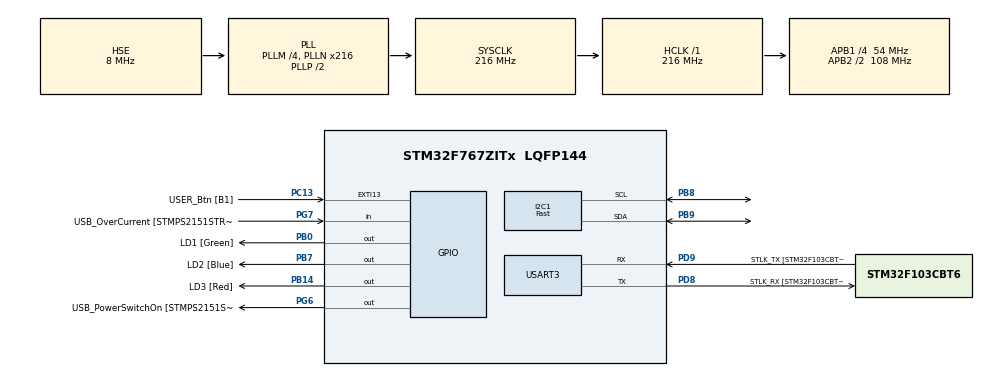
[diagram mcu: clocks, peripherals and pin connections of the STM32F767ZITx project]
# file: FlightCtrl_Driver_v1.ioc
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Dma.I2C1_RX.0.Direction=DMA_PERIPH_TO_MEMORY
Dma.I2C1_RX.0.FIFOMode=DMA_FIFOMODE_DISABLE
Dma.I2C1_RX.0.Instance=DMA1_Stream0
Dma.I2C1_RX.0.MemDataAlignment=DMA_MDATAALIGN_BYTE
Dma.I2C1_RX.0.MemInc=DMA_MINC_ENABLE
Dma.I2C1_RX.0.Mode=DMA_NORMAL
Dma.I2C1_RX.0.PeriphDataAlignment=DMA_PDATAALIGN_BYTE
Dma.I2C1_RX.0.PeriphInc=DMA_PINC_DISABLE
Dma.I2C1_RX.0.Priority=DMA_PRIORITY_VERY_HIGH
Dma.I2C1_TX.1.Direction=DMA_MEMORY_TO_PERIPH
Dma.I2C1_TX.1.FIFOMode=DMA_FIFOMODE_DISABLE
Dma.I2C1_TX.1.Instance=DMA1_Stream6
Dma.I2C1_TX.1.MemDataAlignment=DMA_MDATAALIGN_BYTE
Dma.I2C1_TX.1.MemInc=DMA_MINC_ENABLE
Dma.I2C1_TX.1.Mode=DMA_NORMAL
Dma.I2C1_TX.1.PeriphDataAlignment=DMA_PDATAALIGN_BYTE
Dma.I2C1_TX.1.PeriphInc=DMA_PINC_DISABLE
Dma.I2C1_TX.1.Priority=DMA_PRIORITY_HIGH
Dma.Request0=I2C1_RX
Dma.Request1=I2C1_TX
I2C1.I2C_Speed_Mode=I2C_Fast
I2C1.Timing=0x6000030D
Mcu.Family=STM32F7
Mcu.Name=STM32F767ZITx
Mcu.Package=LQFP144
NVIC.DMA1_Stream0_IRQn=true\:0\:0\:false\:false\:true\:false\:true\:true
NVIC.DMA1_Stream6_IRQn=true\:0\:0\:false\:false\:true\:false\:true\:true
NVIC.I2C1_ER_IRQn=true\:0\:0\:false\:false\:true\:true\:true\:true
NVIC.I2C1_EV_IRQn=true\:0\:0\:false\:false\:true\:true\:true\:true
NVIC.PriorityGroup=NVIC_PRIORITYGROUP_4
PA1.GPIO_Label=RMII_REF_CLK [LAN8742A-CZ-TR_REFCLK0]
PA1.Signal=ETH_REF_CLK
PA10.GPIO_Label=USB_ID
PA10.Signal=USB_OTG_FS_ID
PA11.GPIO_Label=USB_DM
PA11.Signal=USB_OTG_FS_DM
PA12.GPIO_Label=USB_DP
PA12.Signal=USB_OTG_FS_DP
PA13.GPIO_Label=TMS
PA13.Signal=SYS_JTMS-SWDIO
PA14.GPIO_Label=TCK
PA14.Signal=SYS_JTCK-SWCLK
PA2.GPIO_Label=RMII_MDIO [LAN8742A-CZ-TR_MDIO]
PA2.Signal=ETH_MDIO
PA7.GPIO_Label=RMII_CRS_DV [LAN8742A-CZ-TR_CRS_DV]
PA7.Signal=ETH_CRS_DV
PA8.GPIO_Label=USB_SOF [TP1]
PA8.Signal=USB_OTG_FS_SOF
PA9.GPIO_Label=USB_VBUS
PA9.Signal=USB_OTG_FS_VBUS
PB0.GPIO_Label=LD1 [Green]
PB0.Signal=GPIO_Output
PB13.GPIO_Label=RMII_TXD1 [LAN8742A-CZ-TR_TXD1]
PB13.Signal=ETH_TXD1
PB14.GPIO_Label=LD3 [Red]
PB14.Signal=GPIO_Output
PB3.GPIO_Label=SW0
PB3.Signal=SYS_JTDO-SWO
PB7.GPIO_Label=LD2 [Blue]
PB7.Signal=GPIO_Output
PB8.Mode=I2C
PB8.Signal=I2C1_SCL
PB9.Mode=I2C
PB9.Signal=I2C1_SDA
PC1.GPIO_Label=RMII_MDC [LAN8742A-CZ-TR_MDC]
PC1.Signal=ETH_MDC
PC13.GPIO_Label=USER_Btn [B1]
PC13.Signal=GPXTI13
PC14/OSC32_IN.Signal=RCC_OSC32_IN
PC15/OSC32_OUT.Signal=RCC_OSC32_OUT
PC4.GPIO_Label=RMII_RXD0 [LAN8742A-CZ-TR_RXD0]
PC4.Signal=ETH_RXD0
PC5.GPIO_Label=RMII_RXD1 [LAN8742A-CZ-TR_RXD1]
PC5.Signal=ETH_RXD1
PD8.GPIO_Label=STLK_RX [STM32F103CBT6_PA3]
PD8.Mode=Asynchronous
PD8.Signal=USART3_TX
PD9.GPIO_Label=STLK_TX [STM32F103CBT6_PA2]
PD9.Mode=Asynchronous
PD9.Signal=USART3_RX
PG11.GPIO_Label=RMII_TX_EN [LAN8742A-CZ-TR_TXEN]
PG11.Signal=ETH_TX_EN
PG13.GPIO_Label=RMII_TXD0 [LAN8742A-CZ-TR_TXD0]
PG13.Signal=ETH_TXD0
PG6.GPIO_Label=USB_PowerSwitchOn [STMPS2151STR_EN]
PG6.Signal=GPIO_Output
PG7.GPIO_Label=USB_OverCurrent [STMPS2151STR_FAULT]
PG7.Signal=GPIO_Input
PH0/OSC_IN.GPIO_Label=MCO [STM32F103CBT6_PA8]
PH0/OSC_IN.Mode=HSE-External-Clock-Source
PH0/OSC_IN.Signal=RCC_OSC_IN
PH1/OSC_OUT.Mode=HSE-External-Clock-Source
PH1/OSC_OUT.Signal=RCC_OSC_OUT
ProjectManager.HeapSize=0x200
ProjectManager.StackSize=0x400
ProjectManager.TargetToolchain=STM32CubeIDE
RCC.48MHZClocksFreq_Value=24000000
RCC.AHBFreq_Value=216000000
RCC.APB1CLKDivider=RCC_HCLK_DIV4
RCC.APB1Freq_Value=54000000
RCC.APB1TimFreq_Value=108000000
RCC.APB2CLKDivider=RCC_HCLK_DIV2
RCC.APB2Freq_Value=108000000
RCC.APB2TimFreq_Value=216000000
RCC.CortexFreq_Value=216000000
RCC.HCLKFreq_Value=216000000
RCC.HSE_VALUE=8000000
RCC.HSI_VALUE=16000000
RCC.LSE_VALUE=32768
RCC.PLLM=4
RCC.PLLMUL=RCC_PLL_MUL9
RCC.PLLN=216
RCC.PLLSourceVirtual=RCC_PLLSOURCE_HSE
RCC.PRESCALERUSB=RCC_USBCLKSOURCE_PLL_DIV1_5
RCC.SYSCLKFreq_VALUE=216000000
RCC.SYSCLKSource=RCC_SYSCLKSOURCE_PLLCLK
RCC.SYSCLKSourceVirtual=RCC_SYSCLKSOURCE_PLLCLK
RCC.USBFreq_Value=216000000
RCC.VCOOutputFreq_Value=432000000
USART3.VirtualMode-Asynchronous=VM_ASYNC
board=NUCLEO-F767ZI

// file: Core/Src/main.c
/* USER CODE BEGIN Header */
/**
  ******************************************************************************
  * @file           : main.c
  * @brief          : Main program body
  ******************************************************************************
  * @attention
  *
  * Copyright (c) 2026 STMicroelectronics.
  * All rights reserved.
  *
  * This software is licensed under terms that can be found in the LICENSE file
  * in the root directory of this software component.
  * If no LICENSE file comes with this software, it is provided AS-IS.
  *
  ******************************************************************************
  */
/* USER CODE END Header */
#include "main.h"

/* USER CODE BEGIN Includes */
#include "lsm6dso.h"
#include "lis3mdl.h"
#include "ahrs.h"
#include <stdio.h>
/* USER CODE END Includes */

I2C_HandleTypeDef hi2c1;
DMA_HandleTypeDef hdma_i2c1_rx;
DMA_HandleTypeDef hdma_i2c1_tx;

UART_HandleTypeDef huart3;

/* USER CODE BEGIN PV */
LSM6DSO_t imu_sensor;
LIS3MDL_t mag_sensor;
AHRS_t ahrs_sys;
/* USER CODE END PV */

void SystemClock_Config(void);
static void MX_GPIO_Init(void);
static void MX_DMA_Init(void);
static void MX_I2C1_Init(void);
static void MX_USART3_UART_Init(void);

/* USER CODE BEGIN 0 */
extern UART_HandleTypeDef huart3;

int _write(int file, char *ptr, int len) {
	HAL_UART_Transmit(&huart3, (uint8_t*)ptr, len, 1000);
	return len;
}
/* USER CODE END 0 */

int main(void)
{

  /* MCU Configuration--------------------------------------------------------*/

  /* Reset of all peripherals, Initializes the Flash interface and the Systick. */
  HAL_Init();

  /* Configure the system clock */
  SystemClock_Config();

  /* Initialize all configured peripherals */
  MX_GPIO_Init();
  MX_DMA_Init();
  MX_I2C1_Init();
  MX_USART3_UART_Init();
  /* USER CODE BEGIN 2 */
  printf("System Start!\r\n");

  // IMU (LSM6DSO)
  if (LSM6DSO_Init(&imu_sensor, &hi2c1) == 0) {
	  printf("LSM6DSO Init OK!\r\n");
  } else {
	  printf("LSM6DSO FAILED!\r\n");
  }

  // COMPAS (LIS3MDL)
  if (LIS3MDL_Init(&mag_sensor, &hi2c1) == 0) {
	  printf("MAG Init OK!\r\n");
  } else {
	  printf("MAG FAILED!\r\n");
  }

  AHRS_Init(&ahrs_sys, 0.96f, 0.1f);

  /* USER CODE END 2 */

  /* Infinite loop */
  while (1)
  {

    /* USER CODE BEGIN 3 */
/*
	  /* 1. Acquire Data */
	  LSM6DSO_Request_DMA(&imu_sensor);
	  HAL_Delay(1);
	  LIS3MDL_Request_DMA(&mag_sensor);

	  /* 2. Process Data (Sensor Fusion) */
	  AHRS_Update(&ahrs_sys,
			  	  imu_sensor.accel_g[0], imu_sensor.accel_g[1], imu_sensor.accel_g[2],
			  	  imu_sensor.gyro_dps[0], imu_sensor.gyro_dps[1], imu_sensor.gyro_dps[2],
				  mag_sensor.mag_gauss[0], mag_sensor.mag_gauss[1], mag_sensor.mag_gauss[2]);

	  /* 3. Output */
	  printf("P: %6.2f | R: %6.2f | Y: %6.2f\r\n",
			  ahrs_sys.pitch, ahrs_sys.roll, ahrs_sys.yaw);

	  HAL_GPIO_TogglePin(GPIOB, GPIO_PIN_0);
	  HAL_Delay(100);

  }
  /* USER CODE END 3 */
}

void SystemClock_Config(void)
{
  RCC_OscInitTypeDef RCC_OscInitStruct = {0};
  RCC_ClkInitTypeDef RCC_ClkInitStruct = {0};

  /** Configure the main internal regulator output voltage
  */
  __HAL_RCC_PWR_CLK_ENABLE();
  __HAL_PWR_VOLTAGESCALING_CONFIG(PWR_REGULATOR_VOLTAGE_SCALE1);

  /** Initializes the RCC Oscillators according to the specified parameters
  * in the RCC_OscInitTypeDef structure.
  */
  RCC_OscInitStruct.OscillatorType = RCC_OSCILLATORTYPE_HSE;
  RCC_OscInitStruct.HSEState = RCC_HSE_BYPASS;
  RCC_OscInitStruct.PLL.PLLState = RCC_PLL_ON;
  RCC_OscInitStruct.PLL.PLLSource = RCC_PLLSOURCE_HSE;
  RCC_OscInitStruct.PLL.PLLM = 4;
  RCC_OscInitStruct.PLL.PLLN = 216;
  RCC_OscInitStruct.PLL.PLLP = RCC_PLLP_DIV2;
  RCC_OscInitStruct.PLL.PLLQ = 2;
  RCC_OscInitStruct.PLL.PLLR = 2;
  if (HAL_RCC_OscConfig(&RCC_OscInitStruct) != HAL_OK)
  {
    Error_Handler();
  }

  /** Activate the Over-Drive mode
  */
  if (HAL_PWREx_EnableOverDrive() != HAL_OK)
  {
    Error_Handler();
  }

  /** Initializes the CPU, AHB and APB buses clocks
  */
  RCC_ClkInitStruct.ClockType = RCC_CLOCKTYPE_HCLK|RCC_CLOCKTYPE_SYSCLK
                              |RCC_CLOCKTYPE_PCLK1|RCC_CLOCKTYPE_PCLK2;
  RCC_ClkInitStruct.SYSCLKSource = RCC_SYSCLKSOURCE_PLLCLK;
  RCC_ClkInitStruct.AHBCLKDivider = RCC_SYSCLK_DIV1;
  RCC_ClkInitStruct.APB1CLKDivider = RCC_HCLK_DIV4;
  RCC_ClkInitStruct.APB2CLKDivider = RCC_HCLK_DIV2;

  if (HAL_RCC_ClockConfig(&RCC_ClkInitStruct, FLASH_LATENCY_7) != HAL_OK)
  {
    Error_Handler();
  }
}

static void MX_I2C1_Init(void)
{

  hi2c1.Instance = I2C1;
  hi2c1.Init.Timing = 0x6000030D;
  hi2c1.Init.OwnAddress1 = 0;
  hi2c1.Init.AddressingMode = I2C_ADDRESSINGMODE_7BIT;
  hi2c1.Init.DualAddressMode = I2C_DUALADDRESS_DISABLE;
  hi2c1.Init.OwnAddress2 = 0;
  hi2c1.Init.OwnAddress2Masks = I2C_OA2_NOMASK;
  hi2c1.Init.GeneralCallMode = I2C_GENERALCALL_DISABLE;
  hi2c1.Init.NoStretchMode = I2C_NOSTRETCH_DISABLE;
  if (HAL_I2C_Init(&hi2c1) != HAL_OK)
  {
    Error_Handler();
  }

  /** Configure Analogue filter
  */
  if (HAL_I2CEx_ConfigAnalogFilter(&hi2c1, I2C_ANALOGFILTER_ENABLE) != HAL_OK)
  {
    Error_Handler();
  }

  /** Configure Digital filter
  */
  if (HAL_I2CEx_ConfigDigitalFilter(&hi2c1, 0) != HAL_OK)
  {
    Error_Handler();
  }

}

static void MX_USART3_UART_Init(void)
{

  huart3.Instance = USART3;
  huart3.Init.BaudRate = 115200;
  huart3.Init.WordLength = UART_WORDLENGTH_8B;
  huart3.Init.StopBits = UART_STOPBITS_1;
  huart3.Init.Parity = UART_PARITY_NONE;
  huart3.Init.Mode = UART_MODE_TX_RX;
  huart3.Init.HwFlowCtl = UART_HWCONTROL_NONE;
  huart3.Init.OverSampling = UART_OVERSAMPLING_16;
  huart3.Init.OneBitSampling = UART_ONE_BIT_SAMPLE_DISABLE;
  huart3.AdvancedInit.AdvFeatureInit = UART_ADVFEATURE_NO_INIT;
  if (HAL_UART_Init(&huart3) != HAL_OK)
  {
    Error_Handler();
  }

}

static void MX_DMA_Init(void)
{

  /* DMA controller clock enable */
  __HAL_RCC_DMA1_CLK_ENABLE();

  /* DMA interrupt init */
  /* DMA1_Stream0_IRQn interrupt configuration */
  HAL_NVIC_SetPriority(DMA1_Stream0_IRQn, 0, 0);
  HAL_NVIC_EnableIRQ(DMA1_Stream0_IRQn);
  /* DMA1_Stream6_IRQn interrupt configuration */
  HAL_NVIC_SetPriority(DMA1_Stream6_IRQn, 0, 0);
  HAL_NVIC_EnableIRQ(DMA1_Stream6_IRQn);

}

static void MX_GPIO_Init(void)
{
  GPIO_InitTypeDef GPIO_InitStruct = {0};

  /* GPIO Ports Clock Enable */
  __HAL_RCC_GPIOC_CLK_ENABLE();
  __HAL_RCC_GPIOH_CLK_ENABLE();
  __HAL_RCC_GPIOA_CLK_ENABLE();
  __HAL_RCC_GPIOB_CLK_ENABLE();
  __HAL_RCC_GPIOD_CLK_ENABLE();
  __HAL_RCC_GPIOG_CLK_ENABLE();

  /*Configure GPIO pin Output Level */
  HAL_GPIO_WritePin(GPIOB, LD1_Pin|LD3_Pin|LD2_Pin, GPIO_PIN_RESET);

  /*Configure GPIO pin Output Level */
  HAL_GPIO_WritePin(USB_PowerSwitchOn_GPIO_Port, USB_PowerSwitchOn_Pin, GPIO_PIN_RESET);

  /*Configure GPIO pin : USER_Btn_Pin */
  GPIO_InitStruct.Pin = USER_Btn_Pin;
  GPIO_InitStruct.Mode = GPIO_MODE_IT_RISING;
  GPIO_InitStruct.Pull = GPIO_NOPULL;
  HAL_GPIO_Init(USER_Btn_GPIO_Port, &GPIO_InitStruct);

  /*Configure GPIO pins : RMII_MDC_Pin RMII_RXD0_Pin RMII_RXD1_Pin */
  GPIO_InitStruct.Pin = RMII_MDC_Pin|RMII_RXD0_Pin|RMII_RXD1_Pin;
  GPIO_InitStruct.Mode = GPIO_MODE_AF_PP;
  GPIO_InitStruct.Pull = GPIO_NOPULL;
  GPIO_InitStruct.Speed = GPIO_SPEED_FREQ_VERY_HIGH;
  GPIO_InitStruct.Alternate = GPIO_AF11_ETH;
  HAL_GPIO_Init(GPIOC, &GPIO_InitStruct);

  /*Configure GPIO pins : RMII_REF_CLK_Pin RMII_MDIO_Pin RMII_CRS_DV_Pin */
  GPIO_InitStruct.Pin = RMII_REF_CLK_Pin|RMII_MDIO_Pin|RMII_CRS_DV_Pin;
  GPIO_InitStruct.Mode = GPIO_MODE_AF_PP;
  GPIO_InitStruct.Pull = GPIO_NOPULL;
  GPIO_InitStruct.Speed = GPIO_SPEED_FREQ_VERY_HIGH;
  GPIO_InitStruct.Alternate = GPIO_AF11_ETH;
  HAL_GPIO_Init(GPIOA, &GPIO_InitStruct);

  /*Configure GPIO pins : LD1_Pin LD3_Pin LD2_Pin */
  GPIO_InitStruct.Pin = LD1_Pin|LD3_Pin|LD2_Pin;
  GPIO_InitStruct.Mode = GPIO_MODE_OUTPUT_PP;
  GPIO_InitStruct.Pull = GPIO_NOPULL;
  GPIO_InitStruct.Speed = GPIO_SPEED_FREQ_LOW;
  HAL_GPIO_Init(GPIOB, &GPIO_InitStruct);

  /*Configure GPIO pin : RMII_TXD1_Pin */
  GPIO_InitStruct.Pin = RMII_TXD1_Pin;
  GPIO_InitStruct.Mode = GPIO_MODE_AF_PP;
  GPIO_InitStruct.Pull = GPIO_NOPULL;
  GPIO_InitStruct.Speed = GPIO_SPEED_FREQ_VERY_HIGH;
  GPIO_InitStruct.Alternate = GPIO_AF11_ETH;
  HAL_GPIO_Init(RMII_TXD1_GPIO_Port, &GPIO_InitStruct);

  /*Configure GPIO pin : USB_PowerSwitchOn_Pin */
  GPIO_InitStruct.Pin = USB_PowerSwitchOn_Pin;
  GPIO_InitStruct.Mode = GPIO_MODE_OUTPUT_PP;
  GPIO_InitStruct.Pull = GPIO_NOPULL;
  GPIO_InitStruct.Speed = GPIO_SPEED_FREQ_LOW;
  HAL_GPIO_Init(USB_PowerSwitchOn_GPIO_Port, &GPIO_InitStruct);

  /*Configure GPIO pin : USB_OverCurrent_Pin */
  GPIO_InitStruct.Pin = USB_OverCurrent_Pin;
  GPIO_InitStruct.Mode = GPIO_MODE_INPUT;
  GPIO_InitStruct.Pull = GPIO_NOPULL;
  HAL_GPIO_Init(USB_OverCurrent_GPIO_Port, &GPIO_InitStruct);

  /*Configure GPIO pins : USB_SOF_Pin USB_ID_Pin USB_DM_Pin USB_DP_Pin */
  GPIO_InitStruct.Pin = USB_SOF_Pin|USB_ID_Pin|USB_DM_Pin|USB_DP_Pin;
  GPIO_InitStruct.Mode = GPIO_MODE_AF_PP;
  GPIO_InitStruct.Pull = GPIO_NOPULL;
  GPIO_InitStruct.Speed = GPIO_SPEED_FREQ_VERY_HIGH;
  GPIO_InitStruct.Alternate = GPIO_AF10_OTG_FS;
  HAL_GPIO_Init(GPIOA, &GPIO_InitStruct);

  /*Configure GPIO pin : USB_VBUS_Pin */
  GPIO_InitStruct.Pin = USB_VBUS_Pin;
  GPIO_InitStruct.Mode = GPIO_MODE_INPUT;
  GPIO_InitStruct.Pull = GPIO_NOPULL;
  HAL_GPIO_Init(USB_VBUS_GPIO_Port, &GPIO_InitStruct);

  /*Configure GPIO pins : RMII_TX_EN_Pin RMII_TXD0_Pin */
  GPIO_InitStruct.Pin = RMII_TX_EN_Pin|RMII_TXD0_Pin;
  GPIO_InitStruct.Mode = GPIO_MODE_AF_PP;
  GPIO_InitStruct.Pull = GPIO_NOPULL;
  GPIO_InitStruct.Speed = GPIO_SPEED_FREQ_VERY_HIGH;
  GPIO_InitStruct.Alternate = GPIO_AF11_ETH;
  HAL_GPIO_Init(GPIOG, &GPIO_InitStruct);

}

/* USER CODE BEGIN 4 */
void HAL_I2C_MemRxCpltCallback(I2C_HandleTypeDef *hi2c) {
	if (hi2c->Instance == I2C1) {
		LSM6DSO_Process_DMA_Data(&imu_sensor);
		LIS3MDL_Process_DMA_Data(&mag_sensor);
	}
}
/* USER CODE END 4 */

void Error_Handler(void)
{
  __disable_irq();
  while (1)
  {
  }
}
